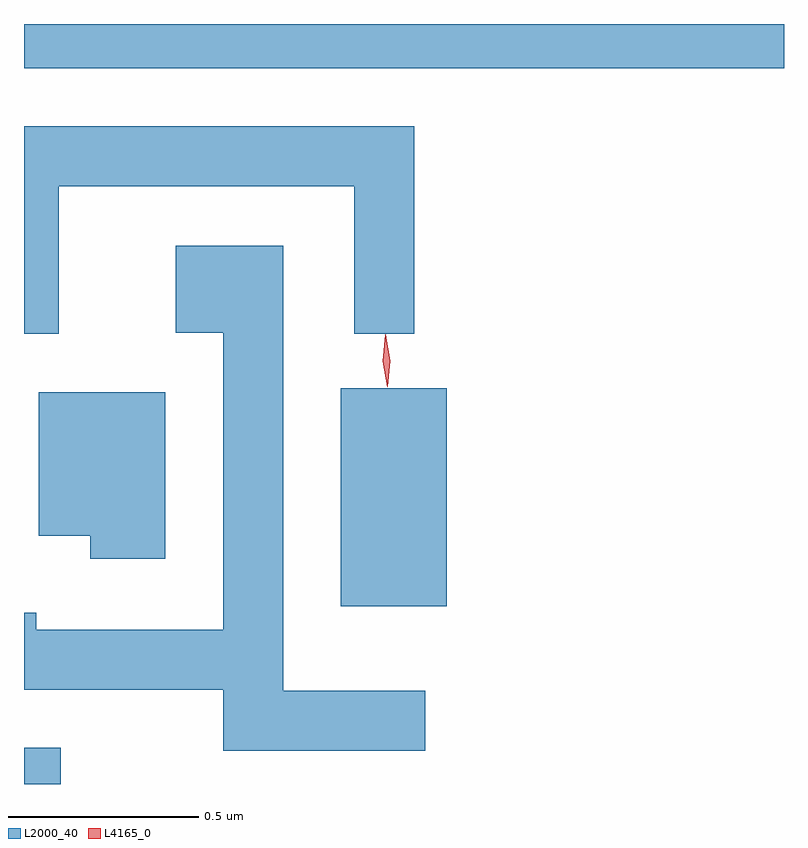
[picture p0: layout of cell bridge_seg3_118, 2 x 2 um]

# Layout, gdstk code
import gdstk
lib = gdstk.Library(unit=1e-6, precision=1e-09)
def R(c, l, rs):  # rectangles x0, y0, x1, y1
    for r in rs: c.add(gdstk.rectangle(r[:2], r[2:], *l))
def P(c, l, *ps):  # polygons
    for p in ps: c.add(gdstk.Polygon(p, *l))
L2000_40 = (2000, 40)
L4165_0 = (4165, 0)

bridge_seg3_118 = lib.new_cell('bridge_seg3_118')
R(bridge_seg3_118, L2000_40, [(1080.182,1192.953,1080.279,1193.049), (1081.016,1193.421,1081.294,1193.994), (1080.182,1194.836,1082.182,1194.953)])
P(bridge_seg3_118, L2000_40, [(1080.274,1194.526),(1081.051,1194.526),(1081.051,1194.138),(1081.209,1194.138),(1081.209,1194.684),(1080.182,1194.684),(1080.182,1194.138),(1080.274,1194.138)],
  [(1081.238,1193.199),(1080.864,1193.199),(1080.864,1194.369),(1080.581,1194.369),(1080.581,1194.141),(1080.706,1194.141),(1080.706,1193.359),(1080.214,1193.359),(1080.214,1193.404),(1080.182,1193.404),(1080.182,1193.201),(1080.706,1193.201),(1080.706,1193.041),(1081.238,1193.041)],
  [(1080.554,1193.984),(1080.221,1193.984),(1080.221,1193.606),(1080.356,1193.606),(1080.356,1193.546),(1080.554,1193.546)])
P(bridge_seg3_118, L4165_0, [(1081.138,1193.998),(1081.138,1193.998),(1081.126,1194.066),(1081.133,1194.135),(1081.134,1194.136),(1081.134,1194.135),(1081.146,1194.067),(1081.139,1193.998)],
  [(1081.138,1194),(1081.138,1194.001),(1081.126,1194.066),(1081.133,1194.132),(1081.134,1194.132),(1081.134,1194.132),(1081.146,1194.067),(1081.139,1194.001)])

lib.write_gds('bridge_seg3_118.gds')
